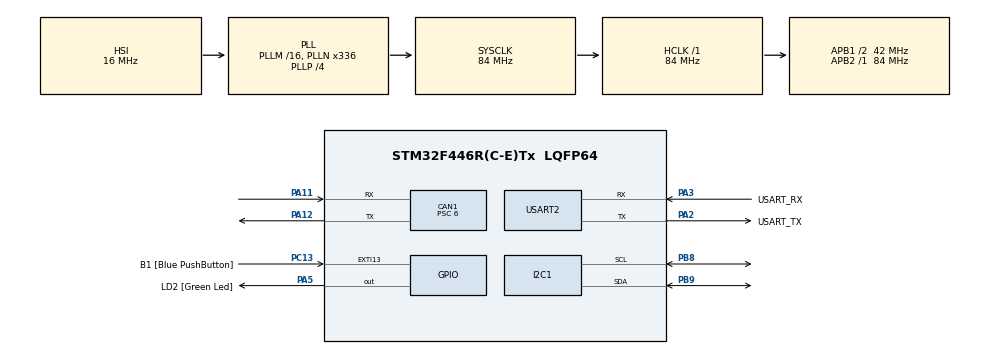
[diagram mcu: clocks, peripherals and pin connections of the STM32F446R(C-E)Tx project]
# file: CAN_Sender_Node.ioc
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CAN1.ABOM=ENABLE
CAN1.BS1=CAN_BS1_11TQ
CAN1.BS2=CAN_BS2_2TQ
CAN1.CalculateBaudRate=500000
CAN1.CalculateTimeBit=2000
CAN1.CalculateTimeQuantum=142.85714285714286
CAN1.Mode=CAN_MODE_NORMAL
CAN1.NART=ENABLE
CAN1.Prescaler=6
Mcu.Family=STM32F4
Mcu.Name=STM32F446R(C-E)Tx
Mcu.Package=LQFP64
NVIC.CAN1_RX0_IRQn=true\:0\:0\:false\:false\:true\:true\:true\:true
NVIC.PriorityGroup=NVIC_PRIORITYGROUP_0
PA11.Mode=CAN_Activate
PA11.Signal=CAN1_RX
PA12.Mode=CAN_Activate
PA12.Signal=CAN1_TX
PA13.GPIO_Label=TMS
PA13.Mode=Serial_Wire
PA13.Signal=SYS_JTMS-SWDIO
PA14.GPIO_Label=TCK
PA14.Mode=Serial_Wire
PA14.Signal=SYS_JTCK-SWCLK
PA2.GPIO_Label=USART_TX
PA2.Mode=Asynchronous
PA2.Signal=USART2_TX
PA3.GPIO_Label=USART_RX
PA3.Mode=Asynchronous
PA3.Signal=USART2_RX
PA5.GPIO_Label=LD2 [Green Led]
PA5.Signal=GPIO_Output
PB3.GPIO_Label=SWO
PB3.Signal=SYS_JTDO-SWO
PB8.Mode=I2C
PB8.Signal=I2C1_SCL
PB9.Mode=I2C
PB9.Signal=I2C1_SDA
PC13.GPIO_Label=B1 [Blue PushButton]
PC13.GPIO_ModeDefaultEXTI=GPIO_MODE_IT_FALLING
PC13.Signal=GPXTI13
PC14-OSC32_IN.Mode=LSE-External-Oscillator
PC14-OSC32_IN.Signal=RCC_OSC32_IN
PC15-OSC32_OUT.Mode=LSE-External-Oscillator
PC15-OSC32_OUT.Signal=RCC_OSC32_OUT
PH0-OSC_IN.Mode=HSE-External-Oscillator
PH0-OSC_IN.Signal=RCC_OSC_IN
PH1-OSC_OUT.Mode=HSE-External-Oscillator
PH1-OSC_OUT.Signal=RCC_OSC_OUT
ProjectManager.HeapSize=0x200
ProjectManager.StackSize=0x400
ProjectManager.TargetToolchain=STM32CubeIDE
RCC.48MHZClocksFreq_Value=84000000
RCC.AHBFreq_Value=84000000
RCC.APB1CLKDivider=RCC_HCLK_DIV2
RCC.APB1Freq_Value=42000000
RCC.APB1TimFreq_Value=84000000
RCC.APB2Freq_Value=84000000
RCC.APB2TimFreq_Value=84000000
RCC.CortexFreq_Value=84000000
RCC.FLatency-AdvancedSettings=FLASH_LATENCY_2
RCC.HCLKFreq_Value=84000000
RCC.HSE_VALUE=8000000
RCC.HSI_VALUE=16000000
RCC.PLLN=336
RCC.PLLP=RCC_PLLP_DIV4
RCC.SYSCLKFreq_VALUE=84000000
RCC.SYSCLKSource=RCC_SYSCLKSOURCE_PLLCLK
RCC.USBFreq_Value=168000000
RCC.VCOOutputFreq_Value=336000000
USART2.VirtualMode=VM_ASYNC
board=NUCLEO-F446RE

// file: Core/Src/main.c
/* USER CODE BEGIN Header */
/**
  ******************************************************************************
  * SENDER NODE CODE
  * @file           : main.c
  * @brief          : Main program body
  ******************************************************************************
  * @attention
  *
  * Copyright (c) 2026 STMicroelectronics.
  * All rights reserved.
  *
  * This software is licensed under terms that can be found in the LICENSE file
  * in the root directory of this software component.
  * If no LICENSE file comes with this software, it is provided AS-IS.
  *
  ******************************************************************************
  */
/* USER CODE END Header */
#include "main.h"
#include "can.h"
#include "i2c.h"
#include "usart.h"
#include "gpio.h"

/* USER CODE BEGIN Includes */
#include <stdio.h>
#include <string.h>
#include "bme280.h"
#include "state_machine.h"
#include "crc8.h"
/* USER CODE END Includes */

/* USER CODE BEGIN PV */
static SystemState current_state = STATE_NORMAL;
static SystemState previous_state = STATE_NORMAL;

/* CAN handles */
CAN_TxHeaderTypeDef tx_header;
CAN_RxHeaderTypeDef rx_header;
uint8_t tx_data[8] = {0};
uint8_t rx_data[8] = {0};
uint32_t tx_mailbox;
volatile uint8_t can_rx_flag = 0;  /* set by ISR when frame arrives */
volatile uint8_t can_rx_count = 0;

static uint8_t msg_counter = 0;  /* wraps at 256 */

/* Heartbeat — separate CAN ID, independent cadence */
CAN_TxHeaderTypeDef hb_header;
uint8_t hb_data[8] = {0};
static uint8_t hb_counter = 0;

/* Tick-based scheduling timestamps */
static uint32_t last_sensor_tx = 0;
static uint32_t last_heartbeat_tx = 0;

/* USER CODE END PV */

void SystemClock_Config(void);

/* USER CODE BEGIN PFP */
int _write(int file, char *ptr, int len);
void CAN_TestInit(void);
HAL_StatusTypeDef CAN_SendSensorFrame(float temp_c, SystemState state);
HAL_StatusTypeDef CAN_SendHeartbeat(void);
/* USER CODE END PFP */

int main(void)
{

  /* MCU Configuration--------------------------------------------------------*/

  /* Reset of all peripherals, Initializes the Flash interface and the Systick. */
  HAL_Init();

  /* Configure the system clock */
  SystemClock_Config();

  /* Initialize all configured peripherals */
  MX_GPIO_Init();
  MX_USART2_UART_Init();
  MX_I2C1_Init();
  MX_CAN1_Init();
  /* USER CODE BEGIN 2 */
  printf("\r\n=== CAN_Sender_Node booted ===\r\n");

    if (BME280_Init() == HAL_OK) {
        printf("BME280 calibrated and configured.\r\n\r\n");
    } else {
        printf("BME280 init FAILED.\r\n\r\n");
        while (1) { /* halt */ }
    }

    //* CAN test initialization */
  CAN_TestInit();
  printf("CAN initialized in NORMAL mode @ 500 kbit/s.\r\n");
  printf("Frame format: [counter|temp_int|temp_frac|state|0|0|0|CRC8]\r\n\r\n");
  /* USER CODE END 2 */

  /* Infinite loop */
  while (1)
  {
	        /* USER CODE BEGIN 3 */
	        uint32_t now = HAL_GetTick();

	        /* Sensor frame every 100 ms */
	        if (now - last_sensor_tx >= 100)
	        {
	            last_sensor_tx = now;

	            float temp_c, hum_pct, press_hpa;
	            if (BME280_Read(&temp_c, &hum_pct, &press_hpa) == HAL_OK) {
	                current_state = classify_state(temp_c, current_state);
	                if (current_state != previous_state) {
	                    printf("*** STATE: %s -> %s ***\r\n",
	                           state_name(previous_state), state_name(current_state));
	                    previous_state = current_state;
	                }

	                if (CAN_SendSensorFrame(temp_c, current_state) == HAL_OK) {
	                    printf("TX #%u: T=%.2f C state=%s  CRC=0x%02X\r\n",
	                           (uint8_t)(msg_counter - 1),
	                           temp_c, state_name(current_state), tx_data[7]);
	                } else {
	                    printf("TX failed (CAN error: 0x%08lX)\r\n", HAL_CAN_GetError(&hcan1));
	                }
	            }

	            HAL_GPIO_TogglePin(LD2_GPIO_Port, LD2_Pin);
	        }

	        /* Heartbeat every 200 ms, independent of sensor cadence */
	        if (now - last_heartbeat_tx >= 200)
	        {
	            last_heartbeat_tx = now;
	            if (CAN_SendHeartbeat() == HAL_OK) {
	                printf("  [HB #%u @ %lu ms]\r\n", (uint8_t)(hb_counter - 1), now);
	            }
	        }
	    }
	    /* USER CODE END 3 */
}

void SystemClock_Config(void)
{
  RCC_OscInitTypeDef RCC_OscInitStruct = {0};
  RCC_ClkInitTypeDef RCC_ClkInitStruct = {0};

  /** Configure the main internal regulator output voltage
  */
  __HAL_RCC_PWR_CLK_ENABLE();
  __HAL_PWR_VOLTAGESCALING_CONFIG(PWR_REGULATOR_VOLTAGE_SCALE3);

  /** Initializes the RCC Oscillators according to the specified parameters
  * in the RCC_OscInitTypeDef structure.
  */
  RCC_OscInitStruct.OscillatorType = RCC_OSCILLATORTYPE_HSI;
  RCC_OscInitStruct.HSIState = RCC_HSI_ON;
  RCC_OscInitStruct.HSICalibrationValue = RCC_HSICALIBRATION_DEFAULT;
  RCC_OscInitStruct.PLL.PLLState = RCC_PLL_ON;
  RCC_OscInitStruct.PLL.PLLSource = RCC_PLLSOURCE_HSI;
  RCC_OscInitStruct.PLL.PLLM = 16;
  RCC_OscInitStruct.PLL.PLLN = 336;
  RCC_OscInitStruct.PLL.PLLP = RCC_PLLP_DIV4;
  RCC_OscInitStruct.PLL.PLLQ = 2;
  RCC_OscInitStruct.PLL.PLLR = 2;
  if (HAL_RCC_OscConfig(&RCC_OscInitStruct) != HAL_OK)
  {
    Error_Handler();
  }

  /** Initializes the CPU, AHB and APB buses clocks
  */
  RCC_ClkInitStruct.ClockType = RCC_CLOCKTYPE_HCLK|RCC_CLOCKTYPE_SYSCLK
                              |RCC_CLOCKTYPE_PCLK1|RCC_CLOCKTYPE_PCLK2;
  RCC_ClkInitStruct.SYSCLKSource = RCC_SYSCLKSOURCE_PLLCLK;
  RCC_ClkInitStruct.AHBCLKDivider = RCC_SYSCLK_DIV1;
  RCC_ClkInitStruct.APB1CLKDivider = RCC_HCLK_DIV2;
  RCC_ClkInitStruct.APB2CLKDivider = RCC_HCLK_DIV1;

  if (HAL_RCC_ClockConfig(&RCC_ClkInitStruct, FLASH_LATENCY_2) != HAL_OK)
  {
    Error_Handler();
  }
}

/* USER CODE BEGIN 4 */
int _write(int file, char *ptr, int len)
{
    HAL_UART_Transmit(&huart2, (uint8_t *)ptr, len, HAL_MAX_DELAY);
    return len;
}

/* ----------------------------------------------------------
 * CAN initialization
 * ---------------------------------------------------------- */
void CAN_TestInit(void)
{
    /* Configure RX filter — accept all standard IDs (mask = 0) */
    CAN_FilterTypeDef filter;
    filter.FilterBank = 0;
    filter.FilterMode = CAN_FILTERMODE_IDMASK;
    filter.FilterScale = CAN_FILTERSCALE_32BIT;
    filter.FilterIdHigh = 0x0000;
    filter.FilterIdLow  = 0x0000;
    filter.FilterMaskIdHigh = 0x0000;
    filter.FilterMaskIdLow  = 0x0000;
    filter.FilterFIFOAssignment = CAN_RX_FIFO0;
    filter.FilterActivation = ENABLE;
    filter.SlaveStartFilterBank = 14;
    HAL_CAN_ConfigFilter(&hcan1, &filter);

    /* Start CAN peripheral */
    HAL_CAN_Start(&hcan1);

    /* Enable RX FIFO0 interrupt */
    HAL_CAN_ActivateNotification(&hcan1, CAN_IT_RX_FIFO0_MSG_PENDING);

    /* Configure TX header — 8-byte payload for counter + data + CRC */
    tx_header.StdId = 0x123;
    tx_header.ExtId = 0;
    tx_header.IDE = CAN_ID_STD;
    tx_header.RTR = CAN_RTR_DATA;
    tx_header.DLC = 8;
    tx_header.TransmitGlobalTime = DISABLE;

    /* Heartbeat header — ID 0x100, DLC 2 (counter + uptime low byte) */
        hb_header.StdId = 0x100;
        hb_header.ExtId = 0;
        hb_header.IDE = CAN_ID_STD;
        hb_header.RTR = CAN_RTR_DATA;
        hb_header.DLC = 2;
        hb_header.TransmitGlobalTime = DISABLE;
}

/* ----------------------------------------------------------
 * Build and transmit a sensor frame with counter + CRC
 *
 * Frame layout (8 bytes):
 *   [0]    Rolling message counter (wraps at 256)
 *   [1]    Temperature integer part (signed °C)
 *   [2]    Temperature fractional × 100 (0..99)
 *   [3]    System state enum (0=NORMAL, 1=WARNING, 2=CRITICAL)
 *   [4-6]  Reserved (0x00) — future: humidity, pressure
 *   [7]    CRC-8 over bytes 0..6 (polynomial 0x07)
 * ---------------------------------------------------------- */
HAL_StatusTypeDef CAN_SendSensorFrame(float temp_c, SystemState state)
{
    tx_data[0] = msg_counter;

    int16_t temp_int  = (int16_t)temp_c;
    uint8_t temp_frac = (uint8_t)((temp_c - temp_int) * 100.0f);
    tx_data[1] = (uint8_t)temp_int;
    tx_data[2] = temp_frac;

    tx_data[3] = (uint8_t)state;

    tx_data[4] = 0x00;
    tx_data[5] = 0x00;
    tx_data[6] = 0x00;

    tx_data[7] = crc8_compute(tx_data, 7);

    msg_counter++;  /* uint8_t wraps naturally at 256 */

    return HAL_CAN_AddTxMessage(&hcan1, &tx_header, tx_data, &tx_mailbox);
}

    HAL_StatusTypeDef CAN_SendHeartbeat(void)
    {
        uint32_t tick = HAL_GetTick();
        hb_data[0] = hb_counter++;            /* rolling heartbeat counter */
        hb_data[1] = (uint8_t)(tick / 100);   /* coarse uptime low byte */

        uint32_t mailbox;
        return HAL_CAN_AddTxMessage(&hcan1, &hb_header, hb_data, &mailbox);
    }

/* ----------------------------------------------------------
 * RX interrupt callback (kept for completeness — Node A
 * doesn't receive its own frames in Normal mode, but the
 * callback must exist because HAL_CAN_ActivateNotification
 * was called for FIFO0)
 * ---------------------------------------------------------- */
void HAL_CAN_RxFifo0MsgPendingCallback(CAN_HandleTypeDef *hcan)
{
    if (HAL_CAN_GetRxMessage(hcan, CAN_RX_FIFO0, &rx_header, rx_data) == HAL_OK) {
        can_rx_flag = 1;
        can_rx_count++;
    }
}

/* USER CODE END 4 */

void Error_Handler(void)
{
  __disable_irq();
  while (1)
  {
  }
}
